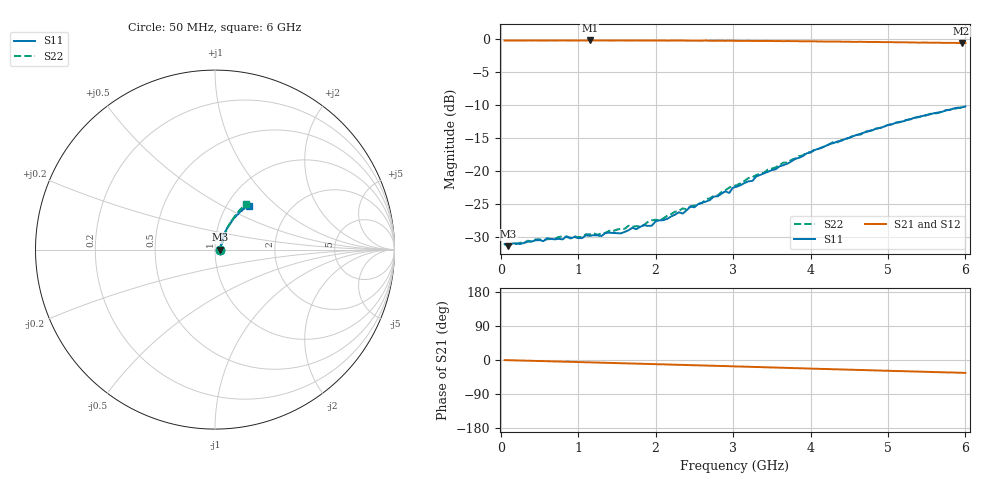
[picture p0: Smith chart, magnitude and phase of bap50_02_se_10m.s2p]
! Created by janssen on Wed Jul 24 13:34:06 METDST 2002
# HZ S MA R 50
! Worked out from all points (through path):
!   120 points, 50 MHz to 6 GHz, reference 50 ohm
!   highest |S21| = -0.22 dB at 1.15 GHz (marker M1); lowest = -0.6 dB at 5.95 GHz (marker M2)
!   group delay of S21, straight-line fit = 15.9 ps
!   lowest |S11| = -31.4 dB at 100 MHz (marker M3), VSWR 1.06, Z = 52.8 + j0.0347 ohm
!   |S11| at or under -10 dB: start of sweep to end of sweep
!   |S22| runs from -31.2 to -10.3 dB; largest |S21 - S12| = 0.0085
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5e7  0.02792 -1.2  0.9732 -0.3  0.9721 -0.4  0.02764 -1.5
1e8  0.0269 0.7  0.9736 -0.5  0.9732 -0.6  0.02758 0.1
5.5e8  0.02934 7.8  0.9743 -2.9  0.9746 -3.0  0.02986 6.7
6e8  0.03094 7.2  0.9742 -3.2  0.9741 -3.2  0.03037 6.1
1.05e9  0.03098 11.0  0.9752 -5.7  0.9748 -5.6  0.03167 10.0
1.15e9  0.03224 11.1  0.9754 -6.2  0.9746 -6.2  0.03309 12.2
1.55e9  0.03362 20.4  0.9749 -8.5  0.9734 -8.4  0.03643 21.9
1.65e9  0.03548 23.9  0.9738 -9.0  0.9737 -9.1  0.03842 21.3
1.8e9  0.03772 27.1  0.9741 -9.8  0.9742 -9.9  0.03791 25.7
1.95e9  0.03845 31.6  0.9734 -10.7  0.9741 -10.7  0.04222 28.3
2.05e9  0.04228 34.3  0.9743 -11.3  0.9731 -11.3  0.04229 32.2
2.3e9  0.04859 39.0  0.9734 -12.7  0.9725 -12.7  0.04997 39.8
2.35e9  0.04754 43.4  0.9733 -13.0  0.9721 -12.9  0.05201 39.6
2.45e9  0.05379 43.0  0.9718 -13.6  0.9708 -13.6  0.05381 42.9
2.5e9  0.05299 44.3  0.972 -13.9  0.971 -13.8  0.05476 44.2
2.9e9  0.07012 52.4  0.9692 -16.0  0.9697 -16.0  0.07144 50.2
2.95e9  0.06816 54.1  0.9709 -16.4  0.9704 -16.4  0.07471 51.7
3.05e9  0.07603 53.9  0.969 -17.1  0.9688 -16.9  0.07802 51.0
4.05e9  0.1437 60.3  0.9604 -22.9  0.96 -22.7  0.1446 59.8
5.05e9  0.2256 57.9  0.9462 -28.8  0.9494 -28.5  0.2263 58.6
5.95e9  0.3025 52.7  0.9319 -33.7  0.9392 -33.5  0.3019 56.1
6e9  0.3086 52.6  0.9328 -34.0  0.9388 -33.9  0.3056 56.0
